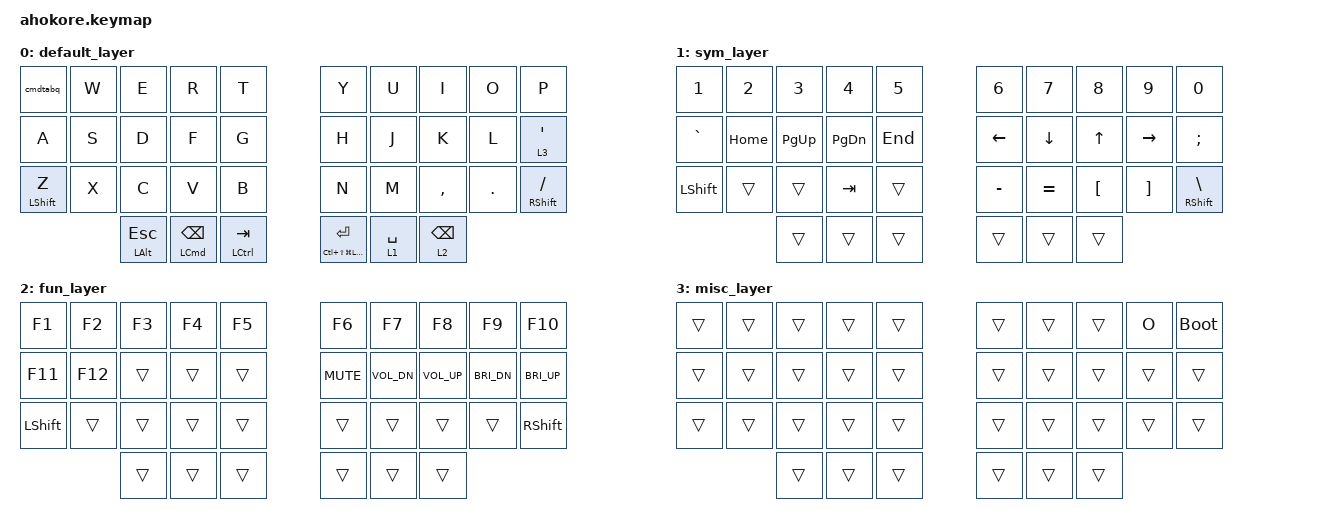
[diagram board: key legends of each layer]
/*
 * Copyright (c) 2020 The ZMK Contributors
 *
 * SPDX-License-Identifier: MIT
 */

#include <behaviors.dtsi>
#include <dt-bindings/zmk/keys.h>
#include <dt-bindings/zmk/bt.h>

/ {
  behaviors {
    cmdtabq: command_tab_q {
      compatible = "zmk,behavior-mod-morph";
      label = "COMMAND_TAB_Q";
      #binding-cells = <0>;
      bindings = <&kp Q>, <&kp TAB>;
      mods = <(MOD_LGUI|MOD_RGUI)>;
    };
  };

  keymap {
    compatible = "zmk,keymap";
    default_layer {
      // -----------------------------------------------------------------------------------------
      // | Q     | W     | E     | R     | T     | Y     | U     | I     | O     |  P    |
      // | A     | S     | D     | F     | G     | H     | J     | K     | L     | '/L3  |
      // | SHF/Z | X     | C     | V     | B     | N     | M     | <,    | >.    | SHF/? |
      //                 |OPT/ESC|CMD/BSP|CTR/TAB|HYP/ENT| L1/SPC| L2/BSP|
      bindings = <
        &cmdtabq     &kp W  &kp E  &kp R  &kp T      &kp Y  &kp U  &kp I      &kp O    &kp P
        &kp A        &kp S  &kp D  &kp F  &kp G      &kp H  &kp J  &kp K      &kp L    &lt 3 SINGLE_QUOTE
        &mt LSHFT Z  &kp X  &kp C  &kp V  &kp B      &kp N  &kp M  &kp COMMA  &kp DOT  &mt RSHFT FSLH
        &mt LALT ESC  &mt LCMD BSPC &mt LCTRL TAB    &mt LC(LS(LG(LALT))) ENTER &lt 1 SPC  &lt 2 BSPC
      >;
    };
    sym_layer {
      // -----------------------------------------------------------------------------------------
      // | 1!    | 2@    | 3#    | 4$    | 5%    | 6^    | 7&    | 8*    | 9(    | 0)    |
      // | `~    | HOME  | PGUP  | PGDN  | END   | LEFT  | DOWN  | UP    | RGHT  | ;:    |
      // | SHFT  |       |       | TAB   |       | -_    | =+    | [{    | ]}    | SHF\| |
      //                 |       |       |       |       | (hold)|       |
      bindings = <
        &kp N1      &kp N2    &kp N3     &kp N4     &kp N5     &kp N6     &kp N7     &kp N8    &kp N9     &kp N0
        &kp GRAVE   &kp HOME  &kp PG_UP  &kp PG_DN  &kp END    &kp LEFT   &kp DOWN   &kp UP    &kp RIGHT  &kp SEMI
        &kp LSHFT   &trans    &trans     &kp TAB    &trans     &kp MINUS  &kp EQUAL  &kp LBKT  &kp RBKT   &mt RSHFT BSLH
        &trans  &trans  &trans                                 &trans  &trans  &trans
      >;
    };
    fun_layer {
      // -----------------------------------------------------------------------------------------
      // | F1    | F2    | F3    | F4    | F5    | F6    | F7    | F8    | F9    | F10   |
      // | F11   | F12   |       |       |       | MUTE  | Vol-  | Vol+  | Br-   | Br+   |
      // | SHFT  |       |       |       |       |       |       |       |       | SHFT  |
      //                 |       |       |       |       |       |( hold)|
      bindings = <
        &kp F1     &kp F2   &kp F3  &kp F4  &kp F5     &kp F6      &kp F7        &kp F8        &kp F9        &kp F10
        &kp F11    &kp F12  &trans  &trans  &trans     &kp C_MUTE  &kp C_VOL_DN  &kp C_VOL_UP  &kp C_BRI_DN  &kp C_BRI_UP
        &kp LSHFT  &trans   &trans  &trans  &trans     &trans      &trans        &trans        &trans        &kp RSHFT
        &trans   &trans    &trans                      &trans   &trans   &trans
      >;
    };
    misc_layer {
      // -----------------------------------------------------------------------------------------
      // |       |       |       |       |       |       |       |       |       | RESET |
      // |       |       |       |       |       |       |       |       |       | (hold)|
      // |       |       |       |       |       |       |       |       |       |       |
      //                 |       |       |       |       |       |       |
      bindings = <
        &trans  &trans  &trans  &trans  &trans     &trans  &trans  &trans  &kp O   &bootloader
        &trans  &trans  &trans  &trans  &trans     &trans  &trans  &trans  &trans  &trans
        &trans  &trans  &trans  &trans  &trans     &trans  &trans  &trans  &trans  &trans
        &trans  &trans  &trans                     &trans  &trans  &trans
      >;
    };
  };
};
